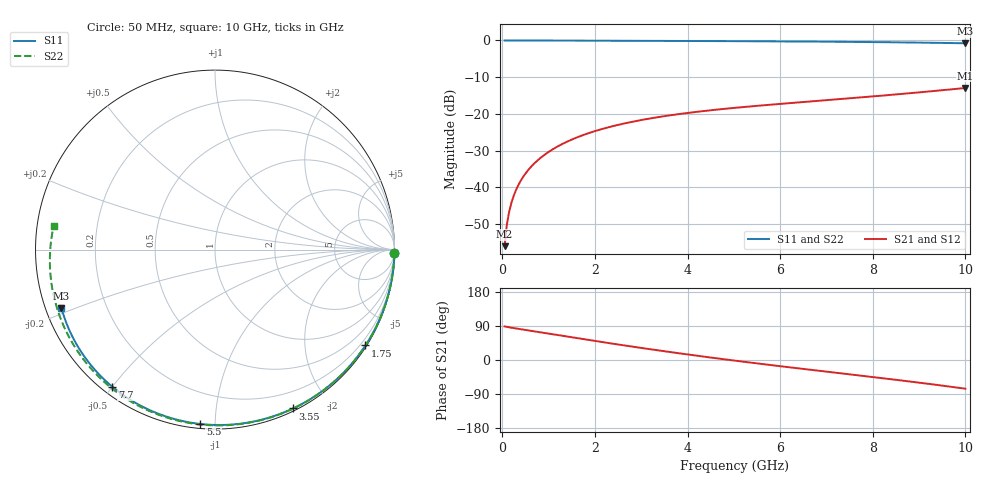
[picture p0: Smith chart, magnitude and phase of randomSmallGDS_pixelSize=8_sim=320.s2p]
! freq	dB(S11)	phase(S11)	dB(S12)	phase(S12)
!  dB(S21)	phase(S21)	dB(S22)	phase(S22)
!S-par simulation data
#  GHz  S  DB  R 50
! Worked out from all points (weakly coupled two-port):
!   200 points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, 50 MHz to 10 GHz, reference 50 ohm
!   highest |S21| = -12.95 dB at 10 GHz (marker M1); lowest = -56.0 dB at 50 MHz (marker M2)
!   lowest |S11| = -0.8 dB at 10 GHz (marker M3), VSWR 22.59, Z = 2.29 - j9.15 ohm
!   |S11| at or under -10 dB: nowhere
!   |S22| runs from -0.8 to 0.0 dB; largest |S21 - S12| = 0
!   S11 on the Smith chart (normalised r, x): 50 MHz: open; 1.75 GHz: 0.04, -3.43; 3.55 GHz: 0.02, -1.60; 5.5 GHz: 0.02, -0.92; 7.7 GHz: 0.03, -0.50; 10 GHz: 0.05, -0.18
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0.05  -0.00 -0.9  -56.05 88.7  -56.05 88.7  -0.00 -1.1
0.1  -0.00 -1.9  -50.05 87.4  -50.05 87.4  -0.00 -2.2
0.15  -0.00 -2.8  -46.57 86.2  -46.57 86.2  -0.00 -3.3
0.2  -0.00 -3.8  -44.10 85.2  -44.10 85.2  -0.00 -4.3
0.25  -0.00 -4.7  -42.19 84.2  -42.19 84.2  -0.00 -5.4
0.35  -0.01 -6.6  -39.32 82.2  -39.32 82.2  -0.01 -7.6
0.5  -0.01 -9.4  -36.27 79.3  -36.27 79.3  -0.01 -10.8
0.7  -0.02 -13.2  -33.39 75.4  -33.39 75.4  -0.02 -15.1
1  -0.03 -18.8  -30.37 69.5  -30.37 69.5  -0.03 -21.5
1.35  -0.04 -25.2  -27.87 62.7  -27.87 62.7  -0.04 -28.9
1.75  -0.05 -32.5  -25.76 55.0  -25.76 55.0  -0.06 -37.2
2.6  -0.08 -47.6  -22.71 39.1  -22.71 39.1  -0.09 -54.5
3.4  -0.12 -61.3  -20.82 24.8  -20.82 24.8  -0.13 -70.1
3.55  -0.12 -63.9  -20.53 22.2  -20.53 22.2  -0.13 -73.0
4.3  -0.16 -76.1  -19.30 9.7  -19.30 9.7  -0.17 -87.0
5.05  -0.19 -88.0  -18.32 -2.1  -18.32 -2.1  -0.21 -100.5
5.5  -0.22 -94.9  -17.81 -9.0  -17.81 -9.0  -0.24 -108.4
6.7  -0.31 -112.6  -16.58 -26.4  -16.58 -26.4  -0.34 -129.0
7.7  -0.40 -126.8  -15.56 -40.7  -15.56 -40.7  -0.44 -146.1
8.35  -0.48 -136.0  -14.87 -50.0  -14.87 -50.0  -0.53 -157.5
9.2  -0.61 -147.9  -13.92 -62.8  -13.92 -62.8  -0.67 -172.9
10  -0.77 -159.2  -12.95 -75.7  -12.95 -75.7  -0.83 171.7
